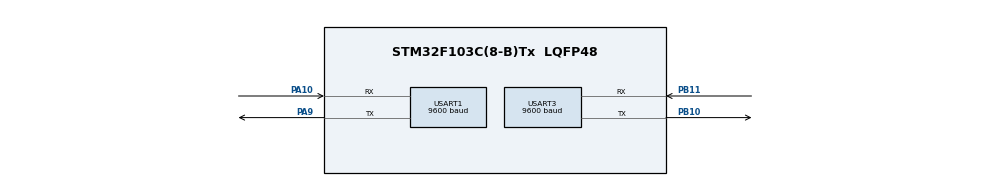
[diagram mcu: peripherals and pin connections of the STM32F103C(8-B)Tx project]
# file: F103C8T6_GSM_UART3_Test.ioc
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Mcu.Family=STM32F1
Mcu.Name=STM32F103C(8-B)Tx
Mcu.Package=LQFP48
NVIC.PriorityGroup=NVIC_PRIORITYGROUP_4
NVIC.USART1_IRQn=true\:0\:0\:false\:false\:true\:true\:true\:true
NVIC.USART3_IRQn=true\:0\:0\:false\:false\:true\:true\:true\:true
PA10.Mode=Asynchronous
PA10.Signal=USART1_RX
PA13.Mode=Serial_Wire
PA13.Signal=SYS_JTMS-SWDIO
PA14.Mode=Serial_Wire
PA14.Signal=SYS_JTCK-SWCLK
PA9.Mode=Asynchronous
PA9.Signal=USART1_TX
PB10.Mode=Asynchronous
PB10.Signal=USART3_TX
PB11.Mode=Asynchronous
PB11.Signal=USART3_RX
PC14-OSC32_IN.Mode=LSE-External-Oscillator
PC14-OSC32_IN.Signal=RCC_OSC32_IN
PC15-OSC32_OUT.Mode=LSE-External-Oscillator
PC15-OSC32_OUT.Signal=RCC_OSC32_OUT
PD0-OSC_IN.Mode=HSE-External-Oscillator
PD0-OSC_IN.Signal=RCC_OSC_IN
PD1-OSC_OUT.Mode=HSE-External-Oscillator
PD1-OSC_OUT.Signal=RCC_OSC_OUT
ProjectManager.HeapSize=0x200
ProjectManager.StackSize=0x400
ProjectManager.TargetToolchain=STM32CubeIDE
RCC.APB1Freq_Value=8000000
RCC.APB2Freq_Value=8000000
USART1.BaudRate=9600
USART1.VirtualMode=VM_ASYNC
USART3.BaudRate=9600
USART3.VirtualMode=VM_ASYNC
board=custom

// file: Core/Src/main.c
/* USER CODE BEGIN Header */
/**
 ******************************************************************************
 * @file           : main.c
 * @brief          : Main program body
 ******************************************************************************
 * @attention
 *
 * Copyright (c) 2025 STMicroelectronics.
 * All rights reserved.
 *
 * This software is licensed under terms that can be found in the LICENSE file
 * in the root directory of this software component.
 * If no LICENSE file comes with this software, it is provided AS-IS.
 *
 ******************************************************************************
 */
/* USER CODE END Header */
#include "main.h"

/* USER CODE BEGIN Includes */
#include "stm32f1xx_hal.h"
#include <string.h>
#include <stdio.h>
/* USER CODE END Includes */

UART_HandleTypeDef huart1;
UART_HandleTypeDef huart3;

void SystemClock_Config(void);
static void MX_GPIO_Init(void);
static void MX_USART1_UART_Init(void);
static void MX_USART3_UART_Init(void);
/* USER CODE BEGIN PFP */
void GSM_SendCommand(char *cmd, uint32_t delay_ms);
void GSM_SendSMS(char *number, char *message);
/* USER CODE END PFP */

int main(void) {

	/* MCU Configuration--------------------------------------------------------*/

	/* Reset of all peripherals, Initializes the Flash interface and the Systick. */
	HAL_Init();

	/* Configure the system clock */
	SystemClock_Config();

	/* Initialize all configured peripherals */
	MX_GPIO_Init();
	MX_USART1_UART_Init();
	MX_USART3_UART_Init();
	/* USER CODE BEGIN 2 */
	HAL_Delay(1000);

	HAL_UART_Transmit(&huart1, (uint8_t*) "Starting GSM Test...\r\n", 22,
	HAL_MAX_DELAY);

	// Initialize SIM900A
	GSM_SendCommand("AT\r\n", 1000);          // Test AT command
	GSM_SendCommand("AT+CMGF=1\r\n", 1000);  // Set SMS Text Mode
	GSM_SendSMS("9985798499", "Hello from STM32!");

	HAL_UART_Transmit(&huart1, (uint8_t*) "SMS Sent!\r\n", 12, HAL_MAX_DELAY);
	/* USER CODE END 2 */

	/* Infinite loop */
	while (1) {

	}
}

void SystemClock_Config(void) {
	RCC_OscInitTypeDef RCC_OscInitStruct = { 0 };
	RCC_ClkInitTypeDef RCC_ClkInitStruct = { 0 };

	/** Initializes the RCC Oscillators according to the specified parameters
	 * in the RCC_OscInitTypeDef structure.
	 */
	RCC_OscInitStruct.OscillatorType = RCC_OSCILLATORTYPE_HSI;
	RCC_OscInitStruct.HSIState = RCC_HSI_ON;
	RCC_OscInitStruct.HSICalibrationValue = RCC_HSICALIBRATION_DEFAULT;
	RCC_OscInitStruct.PLL.PLLState = RCC_PLL_NONE;
	if (HAL_RCC_OscConfig(&RCC_OscInitStruct) != HAL_OK) {
		Error_Handler();
	}

	/** Initializes the CPU, AHB and APB buses clocks
	 */
	RCC_ClkInitStruct.ClockType = RCC_CLOCKTYPE_HCLK | RCC_CLOCKTYPE_SYSCLK
			| RCC_CLOCKTYPE_PCLK1 | RCC_CLOCKTYPE_PCLK2;
	RCC_ClkInitStruct.SYSCLKSource = RCC_SYSCLKSOURCE_HSI;
	RCC_ClkInitStruct.AHBCLKDivider = RCC_SYSCLK_DIV1;
	RCC_ClkInitStruct.APB1CLKDivider = RCC_HCLK_DIV1;
	RCC_ClkInitStruct.APB2CLKDivider = RCC_HCLK_DIV1;

	if (HAL_RCC_ClockConfig(&RCC_ClkInitStruct, FLASH_LATENCY_0) != HAL_OK) {
		Error_Handler();
	}
}

static void MX_USART1_UART_Init(void) {

	huart1.Instance = USART1;
	huart1.Init.BaudRate = 9600;
	huart1.Init.WordLength = UART_WORDLENGTH_8B;
	huart1.Init.StopBits = UART_STOPBITS_1;
	huart1.Init.Parity = UART_PARITY_NONE;
	huart1.Init.Mode = UART_MODE_TX_RX;
	huart1.Init.HwFlowCtl = UART_HWCONTROL_NONE;
	huart1.Init.OverSampling = UART_OVERSAMPLING_16;
	if (HAL_UART_Init(&huart1) != HAL_OK) {
		Error_Handler();
	}

}

static void MX_USART3_UART_Init(void) {

	huart3.Instance = USART3;
	huart3.Init.BaudRate = 9600;
	huart3.Init.WordLength = UART_WORDLENGTH_8B;
	huart3.Init.StopBits = UART_STOPBITS_1;
	huart3.Init.Parity = UART_PARITY_NONE;
	huart3.Init.Mode = UART_MODE_TX_RX;
	huart3.Init.HwFlowCtl = UART_HWCONTROL_NONE;
	huart3.Init.OverSampling = UART_OVERSAMPLING_16;
	if (HAL_UART_Init(&huart3) != HAL_OK) {
		Error_Handler();
	}

}

static void MX_GPIO_Init(void) {

	/* GPIO Ports Clock Enable */
	__HAL_RCC_GPIOC_CLK_ENABLE();
	__HAL_RCC_GPIOD_CLK_ENABLE();
	__HAL_RCC_GPIOB_CLK_ENABLE();
	__HAL_RCC_GPIOA_CLK_ENABLE();

}

/* USER CODE BEGIN 4 */
void GSM_SendCommand(char *cmd, uint32_t delay_ms) {
	HAL_UART_Transmit(&huart3, (uint8_t*) cmd, strlen(cmd), HAL_MAX_DELAY);
	HAL_Delay(delay_ms);
}

/* Function to send SMS via SIM900A */
void GSM_SendSMS(char *number, char *message) {
	char cmd[50];

	sprintf(cmd, "AT+CMGS=\"%s\"\r\n", number);
	GSM_SendCommand(cmd, 500);

	HAL_UART_Transmit(&huart3, (uint8_t*) message, strlen(message),
			HAL_MAX_DELAY);

	uint8_t ctrlz = 26; // ASCII for Ctrl+Z
	HAL_UART_Transmit(&huart3, &ctrlz, 1, HAL_MAX_DELAY);

	HAL_Delay(5000); // Wait for SMS to send
}

/* USER CODE END 4 */

void Error_Handler(void) {
	__disable_irq();
	while (1) {
	}
}
